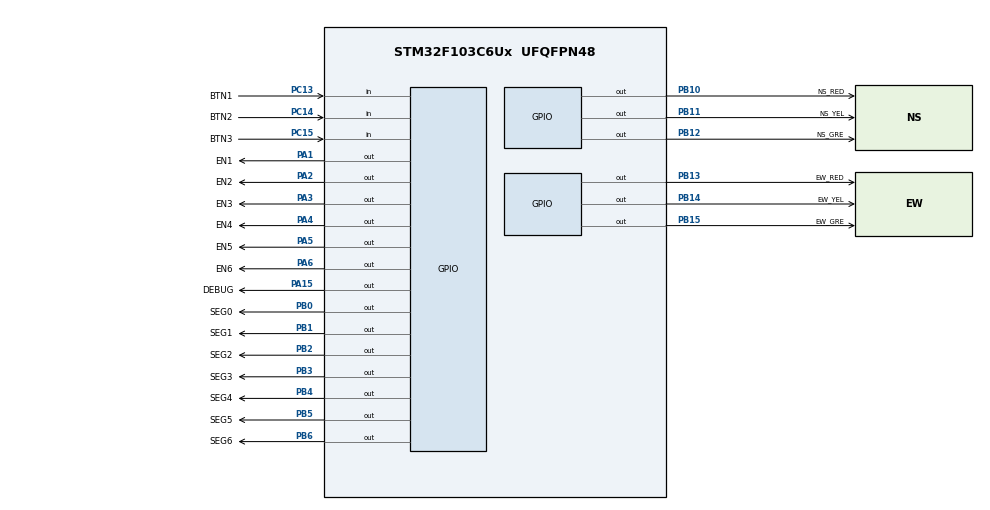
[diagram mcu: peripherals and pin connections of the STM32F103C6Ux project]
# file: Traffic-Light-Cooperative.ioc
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Mcu.Family=STM32F1
Mcu.Name=STM32F103C6Ux
Mcu.Package=UFQFPN48
NVIC.PriorityGroup=NVIC_PRIORITYGROUP_4
NVIC.TIM2_IRQn=true\:0\:0\:false\:false\:true\:true\:true
PA1.GPIO_Label=EN1
PA1.Signal=GPIO_Output
PA15.GPIO_Label=DEBUG
PA15.Signal=GPIO_Output
PA2.GPIO_Label=EN2
PA2.Signal=GPIO_Output
PA3.GPIO_Label=EN3
PA3.Signal=GPIO_Output
PA4.GPIO_Label=EN4
PA4.Signal=GPIO_Output
PA5.GPIO_Label=EN5
PA5.Signal=GPIO_Output
PA6.GPIO_Label=EN6
PA6.Signal=GPIO_Output
PB0.GPIO_Label=SEG0
PB0.Signal=GPIO_Output
PB1.GPIO_Label=SEG1
PB1.Signal=GPIO_Output
PB10.GPIO_Label=NS_RED
PB10.Signal=GPIO_Output
PB11.GPIO_Label=NS_YEL
PB11.Signal=GPIO_Output
PB12.GPIO_Label=NS_GRE
PB12.Signal=GPIO_Output
PB13.GPIO_Label=EW_RED
PB13.Signal=GPIO_Output
PB14.GPIO_Label=EW_YEL
PB14.Signal=GPIO_Output
PB15.GPIO_Label=EW_GRE
PB15.Signal=GPIO_Output
PB2.GPIO_Label=SEG2
PB2.Signal=GPIO_Output
PB3.GPIO_Label=SEG3
PB3.Signal=GPIO_Output
PB4.GPIO_Label=SEG4
PB4.Signal=GPIO_Output
PB5.GPIO_Label=SEG5
PB5.Signal=GPIO_Output
PB6.GPIO_Label=SEG6
PB6.Signal=GPIO_Output
PC13-TAMPER-RTC.GPIO_Label=BTN1
PC13-TAMPER-RTC.GPIO_PuPd=GPIO_PULLUP
PC13-TAMPER-RTC.Signal=GPIO_Input
PC14-OSC32_IN.GPIO_Label=BTN2
PC14-OSC32_IN.GPIO_PuPd=GPIO_PULLUP
PC14-OSC32_IN.Signal=GPIO_Input
PC15-OSC32_OUT.GPIO_Label=BTN3
PC15-OSC32_OUT.GPIO_PuPd=GPIO_PULLUP
PC15-OSC32_OUT.Signal=GPIO_Input
ProjectManager.HeapSize=0x200
ProjectManager.StackSize=0x400
ProjectManager.TargetToolchain=STM32CubeIDE
RCC.APB1Freq_Value=8000000
RCC.APB2Freq_Value=8000000
TIM2.Period=9
TIM2.Prescaler=799
VP_IWDG_VS_IWDG.Mode=IWDG_Activate
VP_SYS_VS_ND.Mode=No_Debug
VP_TIM2_VS_ClockSourceINT.Mode=Internal
board=custom

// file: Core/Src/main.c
/* USER CODE BEGIN Header */
/**
  ******************************************************************************
  * @file           : main.c
  * @brief          : Main program body
  ******************************************************************************
  * @attention
  *
  * <h2><center>&copy; Copyright (c) 2026 STMicroelectronics.
  * All rights reserved.</center></h2>
  *
  * This software component is licensed by ST under BSD 3-Clause license,
  * the "License"; You may not use this file except in compliance with the
  * License. You may obtain a copy of the License at:
  *                        opensource.org/licenses/BSD-3-Clause
  *
  ******************************************************************************
  */
/* USER CODE END Header */
#include "main.h"

/* USER CODE BEGIN Includes */
#include "scheduler.h"
#include "global.h"
#include "input_processing.h"
#include "input_reading.h"
/* USER CODE END Includes */

IWDG_HandleTypeDef hiwdg;

TIM_HandleTypeDef htim2;

void SystemClock_Config(void);
static void MX_GPIO_Init(void);
static void MX_IWDG_Init(void);
static void MX_TIM2_Init(void);

/* USER CODE BEGIN 0 */
void LED_Blink_Task(void);
void getKeyInput_Task(void);
void Flash_Task_wrapper(void);
void Scan7Seg_Task_wrapper(void);
void Countdown_Task_wrapper(void);
void fsm_Task_wrapper(void);
/* USER CODE END 0 */

int main(void)
{

  /* MCU Configuration--------------------------------------------------------*/

  /* Reset of all peripherals, Initializes the Flash interface and the Systick. */
  HAL_Init();

  /* Configure the system clock */
  SystemClock_Config();

  /* Initialize all configured peripherals */
  MX_GPIO_Init();
  MX_IWDG_Init();
  MX_TIM2_Init();
  /* USER CODE BEGIN 2 */
  HAL_TIM_Base_Start_IT(&htim2);

  /* Register tasks (delays in ticks): period = ms / TIMER_CYCLE */
  SCH_Add_Task(LED_Blink_Task, 0, timer1sec);      		// 1 sec blink
  SCH_Add_Task(getKeyInput_Task, 0, 10);      			// read buttons every 10ms
  SCH_Add_Task(Flash_Task_wrapper, 0, timerFlash); 		// flash handler
  SCH_Add_Task(Scan7Seg_Task_wrapper, 0, timerScan); 	// 7seg scan
  SCH_Add_Task(Countdown_Task_wrapper, 0, timer1sec); 	// countdown 1s
  SCH_Add_Task(fsm_Task_wrapper, 0, 10);      			// main FSM (10ms)

  /* Initial values */
  state = INIT;
  prev_state = INIT;
  prev_status = INIT;
  mode = 0;
  flash_enable = 0;

  /* USER CODE END 2 */

  /* Infinite loop */
  /* USER CODE BEGIN WHILE */
  while (1)
  {
	  SCH_Dispatch_Tasks();
    /* USER CODE END WHILE */

  }
}

void SystemClock_Config(void)
{
  RCC_OscInitTypeDef RCC_OscInitStruct = {0};
  RCC_ClkInitTypeDef RCC_ClkInitStruct = {0};

  /** Initializes the RCC Oscillators according to the specified parameters
  * in the RCC_OscInitTypeDef structure.
  */
  RCC_OscInitStruct.OscillatorType = RCC_OSCILLATORTYPE_HSI|RCC_OSCILLATORTYPE_LSI;
  RCC_OscInitStruct.HSIState = RCC_HSI_ON;
  RCC_OscInitStruct.HSICalibrationValue = RCC_HSICALIBRATION_DEFAULT;
  RCC_OscInitStruct.LSIState = RCC_LSI_ON;
  RCC_OscInitStruct.PLL.PLLState = RCC_PLL_NONE;
  if (HAL_RCC_OscConfig(&RCC_OscInitStruct) != HAL_OK)
  {
    Error_Handler();
  }
  /** Initializes the CPU, AHB and APB buses clocks
  */
  RCC_ClkInitStruct.ClockType = RCC_CLOCKTYPE_HCLK|RCC_CLOCKTYPE_SYSCLK
                              |RCC_CLOCKTYPE_PCLK1|RCC_CLOCKTYPE_PCLK2;
  RCC_ClkInitStruct.SYSCLKSource = RCC_SYSCLKSOURCE_HSI;
  RCC_ClkInitStruct.AHBCLKDivider = RCC_SYSCLK_DIV1;
  RCC_ClkInitStruct.APB1CLKDivider = RCC_HCLK_DIV1;
  RCC_ClkInitStruct.APB2CLKDivider = RCC_HCLK_DIV1;

  if (HAL_RCC_ClockConfig(&RCC_ClkInitStruct, FLASH_LATENCY_0) != HAL_OK)
  {
    Error_Handler();
  }
}

static void MX_IWDG_Init(void)
{

  hiwdg.Instance = IWDG;
  hiwdg.Init.Prescaler = IWDG_PRESCALER_4;
  hiwdg.Init.Reload = 4095;
  if (HAL_IWDG_Init(&hiwdg) != HAL_OK)
  {
    Error_Handler();
  }

}

static void MX_TIM2_Init(void)
{

  TIM_ClockConfigTypeDef sClockSourceConfig = {0};
  TIM_MasterConfigTypeDef sMasterConfig = {0};

  htim2.Instance = TIM2;
  htim2.Init.Prescaler = 799;
  htim2.Init.CounterMode = TIM_COUNTERMODE_UP;
  htim2.Init.Period = 9;
  htim2.Init.ClockDivision = TIM_CLOCKDIVISION_DIV1;
  htim2.Init.AutoReloadPreload = TIM_AUTORELOAD_PRELOAD_DISABLE;
  if (HAL_TIM_Base_Init(&htim2) != HAL_OK)
  {
    Error_Handler();
  }
  sClockSourceConfig.ClockSource = TIM_CLOCKSOURCE_INTERNAL;
  if (HAL_TIM_ConfigClockSource(&htim2, &sClockSourceConfig) != HAL_OK)
  {
    Error_Handler();
  }
  sMasterConfig.MasterOutputTrigger = TIM_TRGO_RESET;
  sMasterConfig.MasterSlaveMode = TIM_MASTERSLAVEMODE_DISABLE;
  if (HAL_TIMEx_MasterConfigSynchronization(&htim2, &sMasterConfig) != HAL_OK)
  {
    Error_Handler();
  }

}

static void MX_GPIO_Init(void)
{
  GPIO_InitTypeDef GPIO_InitStruct = {0};

  /* GPIO Ports Clock Enable */
  __HAL_RCC_GPIOC_CLK_ENABLE();
  __HAL_RCC_GPIOA_CLK_ENABLE();
  __HAL_RCC_GPIOB_CLK_ENABLE();

  /*Configure GPIO pin Output Level */
  HAL_GPIO_WritePin(GPIOA, EN1_Pin|EN2_Pin|EN3_Pin|EN4_Pin
                          |EN5_Pin|EN6_Pin, GPIO_PIN_RESET);

  /*Configure GPIO pin Output Level */
  HAL_GPIO_WritePin(GPIOB, SEG0_Pin|SEG1_Pin|SEG2_Pin|NS_RED_Pin
                          |NS_YEL_Pin|NS_GRE_Pin|EW_RED_Pin|EW_YEL_Pin
                          |EW_GRE_Pin|SEG3_Pin|SEG4_Pin|SEG5_Pin
                          |SEG6_Pin, GPIO_PIN_RESET);

  /*Configure GPIO pins : BTN1_Pin BTN2_Pin BTN3_Pin */
  GPIO_InitStruct.Pin = BTN1_Pin|BTN2_Pin|BTN3_Pin;
  GPIO_InitStruct.Mode = GPIO_MODE_INPUT;
  GPIO_InitStruct.Pull = GPIO_PULLUP;
  HAL_GPIO_Init(GPIOC, &GPIO_InitStruct);

  /*Configure GPIO pins : EN1_Pin EN2_Pin EN3_Pin EN4_Pin
                           EN5_Pin EN6_Pin */
  GPIO_InitStruct.Pin = EN1_Pin|EN2_Pin|EN3_Pin|EN4_Pin
                          |EN5_Pin|EN6_Pin;
  GPIO_InitStruct.Mode = GPIO_MODE_OUTPUT_PP;
  GPIO_InitStruct.Pull = GPIO_NOPULL;
  GPIO_InitStruct.Speed = GPIO_SPEED_FREQ_LOW;
  HAL_GPIO_Init(GPIOA, &GPIO_InitStruct);

  /*Configure GPIO pins : SEG0_Pin SEG1_Pin SEG2_Pin NS_RED_Pin
                           NS_YEL_Pin NS_GRE_Pin EW_RED_Pin EW_YEL_Pin
                           EW_GRE_Pin SEG3_Pin SEG4_Pin SEG5_Pin
                           SEG6_Pin */
  GPIO_InitStruct.Pin = SEG0_Pin|SEG1_Pin|SEG2_Pin|NS_RED_Pin
                          |NS_YEL_Pin|NS_GRE_Pin|EW_RED_Pin|EW_YEL_Pin
                          |EW_GRE_Pin|SEG3_Pin|SEG4_Pin|SEG5_Pin
                          |SEG6_Pin;
  GPIO_InitStruct.Mode = GPIO_MODE_OUTPUT_PP;
  GPIO_InitStruct.Pull = GPIO_NOPULL;
  GPIO_InitStruct.Speed = GPIO_SPEED_FREQ_LOW;
  HAL_GPIO_Init(GPIOB, &GPIO_InitStruct);

}

/* USER CODE BEGIN 4 */
void HAL_TIM_PeriodElapsedCallback(TIM_HandleTypeDef *htim)
{
    if (htim->Instance == TIM2)
    {
        SCH_Update();
    }
}

// Define wrapper functions
void LED_Blink_Task(void)
{
    HAL_GPIO_TogglePin(GPIOA, GPIO_PIN_15);
}

void getKeyInput_Task(void)
{
    button_reading();
}

void Flash_Task_wrapper(void)
{
	Flash_Task();
}

void Scan7Seg_Task_wrapper(void)
{
	Scan7Seg_Task();
}

void Countdown_Task_wrapper(void)
{
	Countdown_Task();
}

void fsm_Task_wrapper(void)
{
	fsm_for_input_processing();
}
/* USER CODE END 4 */

void Error_Handler(void)
{
  __disable_irq();
  while (1)
  {
  }
}

/************************ (C) COPYRIGHT STMicroelectronics *****END OF FILE****/
